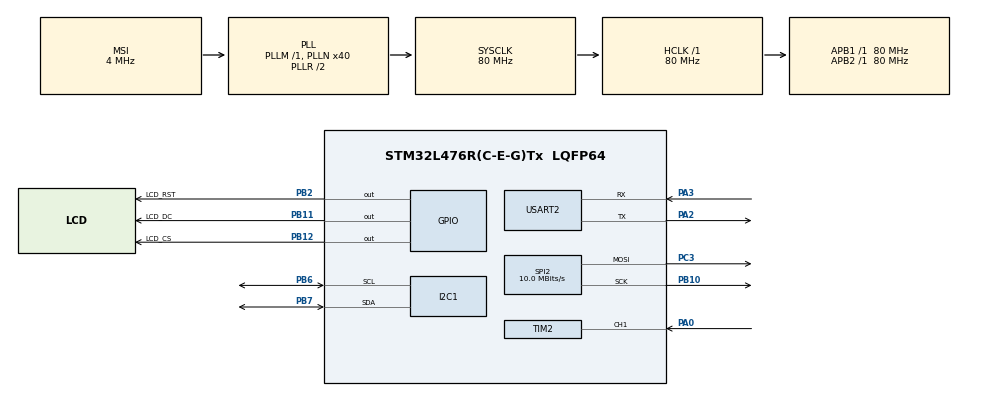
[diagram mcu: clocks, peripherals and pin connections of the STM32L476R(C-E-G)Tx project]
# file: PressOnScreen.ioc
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I2C1.Timing=0x10D19CE4
Mcu.Family=STM32L4
Mcu.Name=STM32L476R(C-E-G)Tx
Mcu.Package=LQFP64
NVIC.PriorityGroup=NVIC_PRIORITYGROUP_4
NVIC.TIM2_IRQn=true\:0\:0\:false\:false\:true\:true\:true\:true
PA0.Signal=S_TIM2_CH1
PA13\ (JTMS-SWDIO).Mode=Serial_Wire
PA13\ (JTMS-SWDIO).Signal=SYS_JTMS-SWDIO
PA14\ (JTCK-SWCLK).Mode=Serial_Wire
PA14\ (JTCK-SWCLK).Signal=SYS_JTCK-SWCLK
PA2.Mode=Asynchronous
PA2.Signal=USART2_TX
PA3.Mode=Asynchronous
PA3.Signal=USART2_RX
PB10.Mode=TX_Only_Simplex_Unidirect_Master
PB10.Signal=SPI2_SCK
PB11.GPIO_Label=LCD_DC
PB11.Signal=GPIO_Output
PB12.GPIO_Label=LCD_CS
PB12.PinState=GPIO_PIN_SET
PB12.Signal=GPIO_Output
PB2.GPIO_Label=LCD_RST
PB2.Signal=GPIO_Output
PB6.Mode=I2C
PB6.Signal=I2C1_SCL
PB7.Mode=I2C
PB7.Signal=I2C1_SDA
PC3.Mode=TX_Only_Simplex_Unidirect_Master
PC3.Signal=SPI2_MOSI
ProjectManager.HeapSize=0x200
ProjectManager.StackSize=0x400
ProjectManager.TargetToolchain=STM32CubeIDE
RCC.AHBFreq_Value=80000000
RCC.APB1Freq_Value=80000000
RCC.APB1TimFreq_Value=80000000
RCC.APB2Freq_Value=80000000
RCC.APB2TimFreq_Value=80000000
RCC.CortexFreq_Value=80000000
RCC.HCLKFreq_Value=80000000
RCC.HSE_VALUE=8000000
RCC.HSI_VALUE=16000000
RCC.LSE_VALUE=32768
RCC.MSI_VALUE=4000000
RCC.PLLN=40
RCC.SYSCLKFreq_VALUE=80000000
RCC.SYSCLKSource=RCC_SYSCLKSOURCE_PLLCLK
RCC.VCOOutputFreq_Value=160000000
SH.S_TIM2_CH1.0=TIM2_CH1,TriggerSource_TI1ED
SH.S_TIM2_CH1.1=TIM2_CH1,Input_Capture1_from_TI1
SPI2.BaudRatePrescaler=SPI_BAUDRATEPRESCALER_8
SPI2.CalculateBaudRate=10.0 MBits/s
SPI2.DataSize=SPI_DATASIZE_8BIT
SPI2.Direction=SPI_DIRECTION_2LINES
SPI2.Mode=SPI_MODE_MASTER
SPI2.NSSPMode=SPI_NSS_PULSE_DISABLE
SPI2.VirtualType=VM_MASTER
TIM2.Channel-Input_Capture1_from_TI1=TIM_CHANNEL_1
TIM2.ICPolarity_CH1=TIM_INPUTCHANNELPOLARITY_FALLING
TIM2.Prescaler=79
USART2.VirtualMode-Asynchronous=VM_ASYNC
VP_TIM2_VS_ClockSourceINT.Mode=Internal
VP_TIM2_VS_ControllerModeReset.Mode=Reset Mode
board=custom

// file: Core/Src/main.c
/* USER CODE BEGIN Header */
/**
  ******************************************************************************
  * @file           : main.c
  * @brief          : Main program body
  ******************************************************************************
  * @attention
  *
  * Copyright (c) 2025 STMicroelectronics.
  * All rights reserved.
  *
  * This software is licensed under terms that can be found in the LICENSE file
  * in the root directory of this software component.
  * If no LICENSE file comes with this software, it is provided AS-IS.
  *
  ******************************************************************************
  */
/* USER CODE END Header */
#include "main.h"
#include "i2c.h"
#include "spi.h"
#include "tim.h"
#include "usart.h"
#include "gpio.h"

/* USER CODE BEGIN Includes */
#include "lpsSensorLib.h"
#include "lcd.h"

#include <stdio.h>

#include "../../hagl/include/font6x9.h"
#include "../../hagl/include/hagl.h"
#include "../../hagl/include/rgb565.h"

#include <string.h>
/* USER CODE END Includes */

/* USER CODE BEGIN PD */
#define MEASUREMENT_DELAY 800

#define CAPTURED_VALUES_FROM_IR   64
/* USER CODE END PD */

void SystemClock_Config(void);

/* USER CODE BEGIN 0 */
int __io_putchar(int character)
{
	if(character == '\n')
	{
		int newLineBegin = '\r';
		HAL_UART_Transmit(&huart2, (uint8_t*)&newLineBegin, 1, HAL_MAX_DELAY);
	}

	HAL_UART_Transmit(&huart2, (uint8_t*)&character, 1, HAL_MAX_DELAY);

	return 1;
}

typedef enum {
	PULSE_9MS,
	PULSE_4MS,
	PULSE_2MS,
	PULSE_LONG,
	PULSE_SHORT,
	PULSE_ERROR,
}timeOfPulse;

static timeOfPulse definePulseBaseOnTime(uint32_t time)
{
	if(time < 250){
		return PULSE_ERROR;
	}
	else if (time < 1200){
		return PULSE_SHORT;
	}
	else if (time < 2000) {
		return PULSE_LONG;
	}
	else if (time < 3000) {
		return PULSE_2MS;
	}
	else if (time < 6000) {
		return PULSE_4MS;
	}
	else if (time < 12000) {
		return PULSE_9MS;
	}
	else{
		return PULSE_ERROR;
	}
}

static volatile uint32_t receivedValues;
static int receivedBits;

static void pulseHandler(timeOfPulse pulse)
{
	if(receivedBits >= 32){
		return;
	}

	switch(pulse){
	case PULSE_SHORT:
		receivedValues = receivedValues >> 1;
		receivedBits++;
		break;
	case PULSE_LONG:
		receivedValues = (receivedValues >> 1) | 0x80000000;
		receivedBits++;
		break;
	case PULSE_4MS:
	    receivedValues = 0;
	    receivedBits = 0;
	    break;
	case PULSE_2MS:
	    if (receivedBits == 0){
	      receivedBits = 32;
	    }
	    break;
	default:
		receivedBits = 0;
		break;
	}
}

volatile uint32_t values[CAPTURED_VALUES_FROM_IR];

int ir_counter;

int irPilotCaptureKey(void)
{
	if(receivedBits != 32){
		return -1;
	}

	uint8_t values = receivedValues >> 16;

	receivedBits = 0;

	return values;
}

void HAL_TIM_IC_CaptureCallback(TIM_HandleTypeDef *htim)
{
  uint32_t new_val;

  if (htim == &htim2) {

	  switch (HAL_TIM_GetActiveChannel(&htim2)) {

	  	  case HAL_TIM_ACTIVE_CHANNEL_1:

	  		  new_val = definePulseBaseOnTime(HAL_TIM_ReadCapturedValue(htim, TIM_CHANNEL_1));

	  		  pulseHandler(new_val);
	  		  break;
	  	  default:
	  		  break;
	  }
  }
}

/* USER CODE END 0 */

int main(void)
{

  /* MCU Configuration--------------------------------------------------------*/

  /* Reset of all peripherals, Initializes the Flash interface and the Systick. */
  HAL_Init();

  /* Configure the system clock */
  SystemClock_Config();

  /* Initialize all configured peripherals */
  MX_GPIO_Init();
  MX_I2C1_Init();
  MX_SPI2_Init();
  MX_USART2_UART_Init();
  MX_TIM2_Init();
  /* USER CODE BEGIN 2 */

  HAL_TIM_Base_Start(&htim2);
  HAL_TIM_IC_Start_IT(&htim2, TIM_CHANNEL_1);

  /* USER CODE END 2 */

  /* Infinite loop */
  /* USER CODE BEGIN WHILE */

  printf("Looking for devices: \n");

  if(lpsSensorInit() == HAL_OK){
	  printf("LPS25HB ------------------------------------ OK");
  }else{
	  printf("LPS25HB ------------------------------NOT FOUND");
	  Error_Handler();
  }

  screenInit();
  for (int i = 0; i < 8; i++) {
    hagl_draw_rounded_rectangle(2+i, 2+i, 158-i, 126-i, 8-i, rgb565(0, 0, i*16));
  }
  hagl_put_text(L"Hello World!", 40, 55, YELLOW, font6x9);
  screenCopy();

  HAL_Delay(5000);

  typedef enum{
	    SCREEN_NONE = 0,
	    SCREEN_CHANNEL_1,
	    SCREEN_CHANNEL_2,
	    SCREEN_TEMPERATURE,
	    SCREEN_PRESSURE,
  } ScreenState;

  ScreenState currentScreen = SCREEN_NONE;

  while (1)
  {
	  int key = irPilotCaptureKey();

	      if (key != -1)
	      {
	          printf("Key: %02x\n", key);

	          switch (key)
	          {
	              case 0x0C:
	                  currentScreen = SCREEN_CHANNEL_1;
	                  break;

	              case 0x08:
	                  currentScreen = SCREEN_CHANNEL_2;
	                  break;

	              case 0x18:
	                  currentScreen = SCREEN_TEMPERATURE;
	                  break;

	              case 0x5E:
	                  currentScreen = SCREEN_PRESSURE;
	                  break;

	              case 0x5A:
	                  currentScreen = SCREEN_NONE;
	                  hagl_clear_screen();
	                  screenCopy();
	                  break;

	              case 0x1C:
	                  hagl_clear_screen();
	                  screenCopy();
	                  break;

	              default:
	                  break;
	          }
	      }

	      if (currentScreen != SCREEN_NONE)
	         {
	             hagl_clear_screen();

            	 char buf_char[32];
            	 wchar_t buf_wchar[32];

	             switch (currentScreen)
	             {
	                 case SCREEN_CHANNEL_1:
	                	 hagl_fill_rectangle(10, 50, 150, 80, BLACK);
	                	 sprintf(buf_char, "Kanał 1");
	                	 mbstowcs(buf_wchar, buf_char, strlen(buf_char)+1);
	                	 hagl_put_text(buf_wchar, 20, 55, WHITE, font6x9);
	                     break;

	                 case SCREEN_CHANNEL_2:
	                	 hagl_fill_rectangle(10, 50, 150, 80, BLACK);
	                	 sprintf(buf_char, "Kanał 2");
	                	 mbstowcs(buf_wchar, buf_char, strlen(buf_char)+1);
	                	 hagl_put_text(buf_wchar, 20, 55, WHITE, font6x9);
	                     break;

	                 case SCREEN_TEMPERATURE:
	                 {
	                     float temp = lpsSensorGetTemp();
	                     hagl_fill_rectangle(10, 50, 150, 80, BLACK);
	                     sprintf(buf_char, "P = %.1f C", temp);
	                     mbstowcs(buf_wchar, buf_char, strlen(buf_char)+1);
	                     hagl_put_text(buf_wchar, 20, 55, WHITE, font6x9);
	                     printf("Temp = %.1f (Celsius)\n", temp);

	                     break;
	                 }

	                 case SCREEN_PRESSURE:
	                 {
	                     float press = lpsSensorGetPress();
	                     hagl_fill_rectangle(10, 50, 150, 80, BLACK);
	                     sprintf(buf_char, "P = %.1f hPa", press);
	                     mbstowcs(buf_wchar, buf_char, strlen(buf_char)+1);
	                     hagl_put_text(buf_wchar, 20, 55, WHITE, font6x9);
	                     printf("Press = %.1f (hPascals)\n", press);

	                     break;
	                 }

	                 default:
	                     break;
	             }

	             screenCopy();
	         }

	  HAL_Delay(100);
//	  float temp = lpsSensorGetTemp();
//	  float press = lpsSensorGetPress();
//
//	  printf("Temp = %.1f (Celsius)\n", temp);
//	  printf("Press = %.1f (hPascals)\n", press);
//
//	  hagl_fill_rectangle(10, 50, 150, 80, BLACK);
//
//	  char buf_char[32];
//	  wchar_t buf_wchar[32];
//
//
//	  sprintf(buf_char, "T = %.1f C", temp);
//
//	  mbstowcs(buf_wchar, buf_char, strlen(buf_char)+1);
//
//	  hagl_put_text(buf_wchar, 20, 55, WHITE, font6x9);
//
//	  screenCopy();
//
//	  HAL_Delay(5000);
//
//	  int capturedKey = irPilotCaptureKey();
//
//	  if(capturedKey != -1){
//		  printf("Code: %02x\n", capturedKey);
//	  }
    /* USER CODE END WHILE */

  }
}

void SystemClock_Config(void)
{
  RCC_OscInitTypeDef RCC_OscInitStruct = {0};
  RCC_ClkInitTypeDef RCC_ClkInitStruct = {0};

  /** Configure the main internal regulator output voltage
  */
  if (HAL_PWREx_ControlVoltageScaling(PWR_REGULATOR_VOLTAGE_SCALE1) != HAL_OK)
  {
    Error_Handler();
  }

  /** Initializes the RCC Oscillators according to the specified parameters
  * in the RCC_OscInitTypeDef structure.
  */
  RCC_OscInitStruct.OscillatorType = RCC_OSCILLATORTYPE_MSI;
  RCC_OscInitStruct.MSIState = RCC_MSI_ON;
  RCC_OscInitStruct.MSICalibrationValue = 0;
  RCC_OscInitStruct.MSIClockRange = RCC_MSIRANGE_6;
  RCC_OscInitStruct.PLL.PLLState = RCC_PLL_ON;
  RCC_OscInitStruct.PLL.PLLSource = RCC_PLLSOURCE_MSI;
  RCC_OscInitStruct.PLL.PLLM = 1;
  RCC_OscInitStruct.PLL.PLLN = 40;
  RCC_OscInitStruct.PLL.PLLP = RCC_PLLP_DIV7;
  RCC_OscInitStruct.PLL.PLLQ = RCC_PLLQ_DIV2;
  RCC_OscInitStruct.PLL.PLLR = RCC_PLLR_DIV2;
  if (HAL_RCC_OscConfig(&RCC_OscInitStruct) != HAL_OK)
  {
    Error_Handler();
  }

  /** Initializes the CPU, AHB and APB buses clocks
  */
  RCC_ClkInitStruct.ClockType = RCC_CLOCKTYPE_HCLK|RCC_CLOCKTYPE_SYSCLK
                              |RCC_CLOCKTYPE_PCLK1|RCC_CLOCKTYPE_PCLK2;
  RCC_ClkInitStruct.SYSCLKSource = RCC_SYSCLKSOURCE_PLLCLK;
  RCC_ClkInitStruct.AHBCLKDivider = RCC_SYSCLK_DIV1;
  RCC_ClkInitStruct.APB1CLKDivider = RCC_HCLK_DIV1;
  RCC_ClkInitStruct.APB2CLKDivider = RCC_HCLK_DIV1;

  if (HAL_RCC_ClockConfig(&RCC_ClkInitStruct, FLASH_LATENCY_4) != HAL_OK)
  {
    Error_Handler();
  }
}

void Error_Handler(void)
{
  __disable_irq();
  while (1)
  {
  }
}
